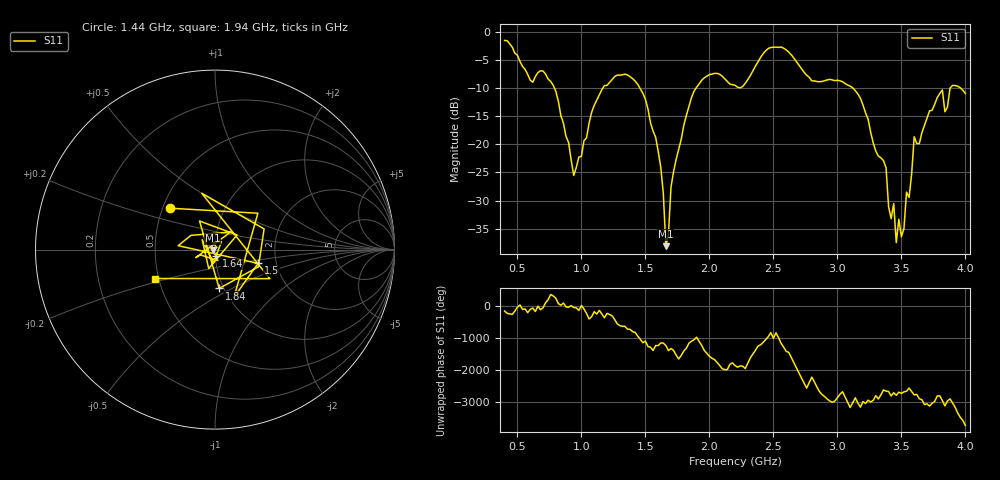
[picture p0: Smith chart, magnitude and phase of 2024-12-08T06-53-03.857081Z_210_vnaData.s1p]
!Created with skrf (http://scikit-rf.org).
# Hz S RI R 50.0
!freq ReS11 ImS11
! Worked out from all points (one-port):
!   181 points, 400 MHz to 4 GHz, reference 50 ohm
!   lowest |S11| = -38.1 dB at 1.66 GHz (marker M1), VSWR 1.03, Z = 48.9 - j0.436 ohm
!   |S11| at or under -10 dB: 789.6 MHz to 1.167 GHz (377.5 MHz wide, 38.6 % of centre); 1.458 GHz to 1.895 GHz (437.2 MHz wide, 26.1 % of centre); 3.123 GHz to 3.88 GHz (757.3 MHz wide, 21.6 % of centre) (the widest 3 of 4)
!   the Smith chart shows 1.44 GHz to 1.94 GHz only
!   S11 on the Smith chart (normalised r, x): 1.44 GHz: 0.54, +0.28; 1.5 GHz: 1.61, -0.26; 1.64 GHz: 1.01, -0.07; 1.84 GHz: 0.95, -0.43; 1.94 GHz: 0.48, -0.18
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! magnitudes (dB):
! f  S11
! 400 MHz  -1.5
! 720 MHz  -7.5
! 860 MHz  -16.3
! 940 MHz  -25.5
! 1.1 GHz  -13.1
! 1.3 GHz  -7.7
! 1.44 GHz  -9.3
! 1.5 GHz  -12.0
! 1.64 GHz  -28.7
! 1.66 GHz  -38.1
! 1.7 GHz  -27.6
! 1.76 GHz  -20.9
! 1.84 GHz  -13.3
! 1.94 GHz  -8.6
! 2.2 GHz  -9.5
! 2.46 GHz  -2.9
! 2.66 GHz  -4.6
! 3.1 GHz  -9.6
! 3.38 GHz  -24.2
! 3.4 GHz  -31.1
! 3.44 GHz  -30.5
! 3.46 GHz  -37.5
! 3.56 GHz  -29.5
! 3.6 GHz  -18.6
! 3.82 GHz  -10.3
! 3.84 GHz  -14.2
! 3.9 GHz  -9.5
! 4 GHz  -10.9
